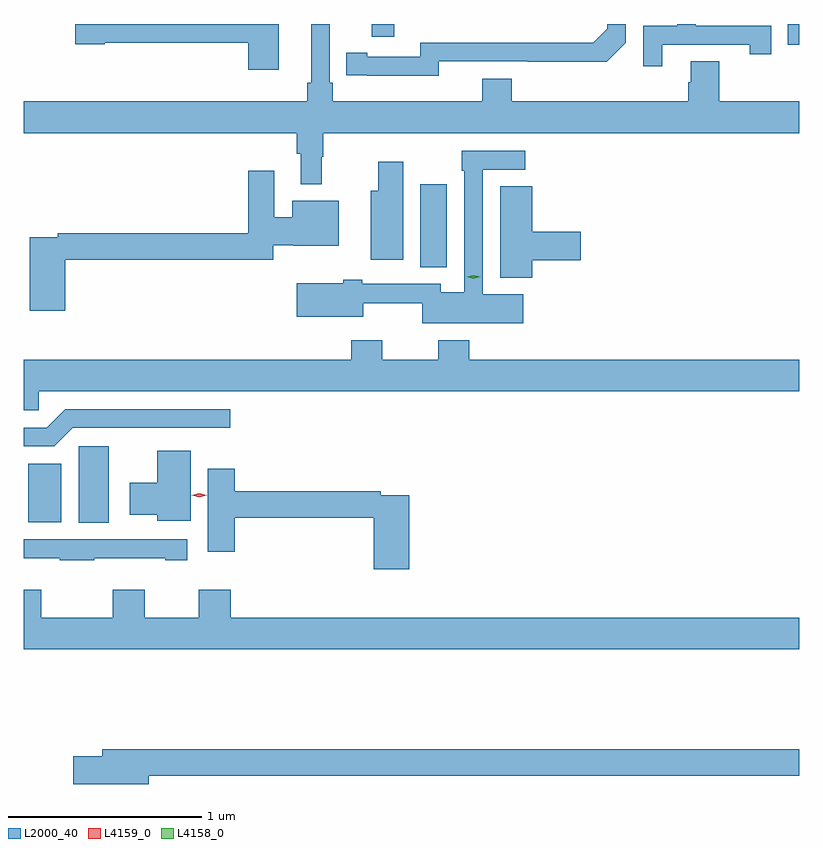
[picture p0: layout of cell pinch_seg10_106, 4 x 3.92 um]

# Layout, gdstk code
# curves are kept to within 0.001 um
import gdstk
lib = gdstk.Library(unit=1e-6, precision=1e-09)
def R(c, l, rs):  # rectangles x0, y0, x1, y1
    for r in rs: c.add(gdstk.rectangle(r[:2], r[2:], *l))
def P(c, l, *ps):  # polygons
    for p in ps: c.add(gdstk.Polygon(p, *l))
L2000_40 = (2000, 40)
L4158_0 = (4158, 0)
L4159_0 = (4159, 0)

pinch_seg10_106 = lib.new_cell('pinch_seg10_106')
R(pinch_seg10_106, L2000_40, [(675.296,1300.969,675.451,1301.364), (675.038,1300.973,675.208,1301.275), (677.06,1302.289,677.197,1302.715), (678.954,1303.437,679.014,1303.543), (676.808,1303.476,676.925,1303.543)])
P(pinch_seg10_106, L2000_40, [(676.552,1302.857),(676.559,1302.857),(676.559,1302.98),(679.014,1302.98),(679.014,1303.144),(678.603,1303.144),(678.603,1303.352),(678.455,1303.352),(678.455,1303.242),(678.443,1303.242),(678.443,1303.144),(677.531,1303.144),(677.531,1303.261),(677.378,1303.261),(677.378,1303.144),(676.607,1303.144),(676.607,1303.24),(676.593,1303.24),(676.593,1303.543),(676.496,1303.543),(676.496,1303.24),(676.477,1303.24),(676.477,1303.144),(675.014,1303.144),(675.014,1302.98),(676.423,1302.98),(676.423,1302.874),(676.442,1302.874),(676.442,1302.717),(676.552,1302.717)],
  [(677.154,1303.35),(678.022,1303.349),(678.12,1303.446),(678.12,1303.543),(678.024,1303.543),(678.024,1303.518),(677.952,1303.446),(677.058,1303.446),(677.058,1303.374),(676.786,1303.374),(676.786,1303.394),(676.678,1303.394),(676.678,1303.278),(677.154,1303.277)],
  [(676.33,1303.543),(675.278,1303.543),(675.278,1303.438),(675.432,1303.438),(675.432,1303.446),(676.172,1303.446),(676.172,1303.308),(676.33,1303.308)],
  [(678.307,1303.437),(678.758,1303.437),(678.758,1303.386),(678.869,1303.386),(678.869,1303.533),(678.48,1303.533),(678.48,1303.543),(678.384,1303.543),(678.384,1303.533),(678.21,1303.533),(678.21,1303.326),(678.307,1303.326)],
  [(677.59,1302.148),(677.382,1302.148),(677.382,1302.792),(677.602,1302.792),(677.602,1302.888),(677.274,1302.888),(677.274,1302.785),(677.286,1302.785),(677.286,1302.16),(677.166,1302.16),(677.166,1302.204),(676.761,1302.204),(676.761,1302.224),(676.661,1302.224),(676.661,1302.205),(676.421,1302.205),(676.421,1302.032),(676.765,1302.032),(676.765,1302.103),(677.07,1302.103),(677.07,1301.999),(677.59,1301.999)],
  [(676.972,1302.832),(676.843,1302.832),(676.843,1302.682),(676.805,1302.682),(676.805,1302.326),(676.972,1302.326)],
  [(675.227,1302.328),(676.302,1302.328),(676.302,1302.402),(676.404,1302.402),(676.404,1302.398),(676.639,1302.398),(676.639,1302.631),(676.4,1302.631),(676.4,1302.546),(676.306,1302.546),(676.306,1302.787),(676.172,1302.787),(676.172,1302.464),(675.19,1302.464),(675.19,1302.444),(675.044,1302.444),(675.044,1302.063),(675.227,1302.063)],
  [(677.638,1302.323),(677.887,1302.323),(677.887,1302.47),(677.638,1302.47),(677.638,1302.707),(677.471,1302.707),(677.471,1302.233),(677.638,1302.233)],
  [(677.152,1301.911),(677.152,1301.812),(676.863,1301.812),(676.863,1301.911),(676.703,1301.911),(676.703,1301.812),(675.014,1301.812),(675.014,1301.55),(675.09,1301.55),(675.09,1301.648),(679.014,1301.648),(679.014,1301.812),(677.312,1301.812),(677.312,1301.911)],
  [(675.267,1301.46),(676.078,1301.46),(676.078,1301.556),(675.228,1301.556),(675.132,1301.46),(675.014,1301.46),(675.014,1301.364),(675.171,1301.364)],
  [(675.874,1301.341),(675.701,1301.341),(675.701,1301.176),(675.561,1301.176),(675.561,1301.012),(675.701,1301.012),(675.701,1300.979),(675.874,1300.979)],
  [(677.003,1301.112),(676.856,1301.112),(676.856,1301.132),(676.103,1301.132),(676.103,1301.248),(675.962,1301.248),(675.962,1300.821),(676.103,1300.821),(676.103,1300.996),(676.82,1300.996),(676.82,1300.731),(677.003,1300.731)],
  [(675.377,1300.787),(675.743,1300.787),(675.743,1300.776),(675.856,1300.776),(675.856,1300.884),(675.014,1300.884),(675.014,1300.787),(675.199,1300.787),(675.199,1300.776),(675.377,1300.776)],
  [(679.014,1300.48),(676.081,1300.48),(676.081,1300.624),(675.917,1300.624),(675.917,1300.48),(675.637,1300.48),(675.637,1300.624),(675.473,1300.624),(675.473,1300.48),(675.103,1300.48),(675.103,1300.624),(675.014,1300.624),(675.014,1300.316),(679.014,1300.316)],
  [(675.658,1299.664),(679.014,1299.664),(679.014,1299.8),(675.419,1299.8),(675.419,1299.764),(675.27,1299.764),(675.27,1299.622),(675.658,1299.622)])
P(pinch_seg10_106, L4158_0, [(677.333,1302.228),(677.299,1302.239),(677.299,1302.239),(677.299,1302.239),(677.334,1302.248),(677.368,1302.238),(677.368,1302.238),(677.368,1302.238)])
P(pinch_seg10_106, L4159_0, [(675.918,1301.101),(675.879,1301.111),(675.879,1301.111),(675.879,1301.111),(675.918,1301.121),(675.957,1301.111),(675.958,1301.111),(675.957,1301.111)])

lib.write_gds('pinch_seg10_106.gds')
